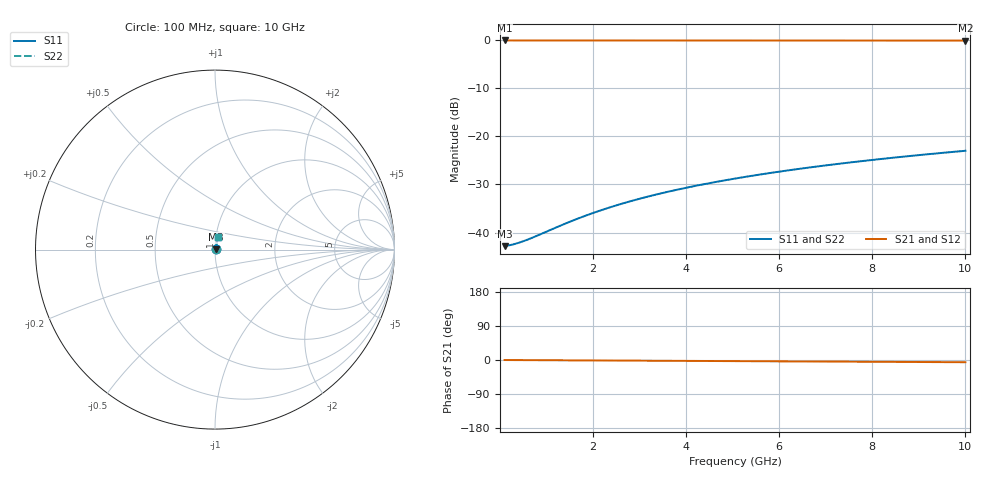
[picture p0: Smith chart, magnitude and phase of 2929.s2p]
# Hz S RI R 50.00
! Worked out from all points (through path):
!   100 points, 100 MHz to 10 GHz, reference 50 ohm
!   highest |S21| = -0.06 dB at 100 MHz (marker M1); lowest = -0.1 dB at 10 GHz (marker M2)
!   lowest |S11| = -42.8 dB at 100 MHz (marker M3), VSWR 1.01, Z = 50.7 + j0.0708 ohm
!   |S11| at or under -10 dB: start of sweep to end of sweep
!   |S22| runs from -42.8 to -23.0 dB; largest |S21 - S12| = 0
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1e8  0.00719 0.000698  0.9928 -0.00102  0.9928 -0.00102  0.00719 0.000698
2e8  0.00724 0.0014  0.9928 -0.00204  0.9928 -0.00204  0.00724 0.0014
3e8  0.00728 0.00209  0.9927 -0.00306  0.9927 -0.00306  0.00728 0.00209
4e8  0.00731 0.00279  0.9927 -0.00407  0.9927 -0.00407  0.00731 0.00279
6e8  0.00737 0.00419  0.9926 -0.00611  0.9926 -0.00611  0.00737 0.00419
8e8  0.00743 0.00558  0.9926 -0.00815  0.9926 -0.00815  0.00743 0.00558
1.4e9  0.0076 0.00977  0.9924 -0.0143  0.9924 -0.0143  0.0076 0.00977
1.8e9  0.00773 0.0126  0.9922 -0.0183  0.9922 -0.0183  0.00773 0.0126
2.2e9  0.00788 0.0153  0.9921 -0.0224  0.9921 -0.0224  0.00788 0.0153
2.6e9  0.00805 0.0181  0.9919 -0.0265  0.9919 -0.0265  0.00805 0.0181
3e9  0.00824 0.0209  0.9917 -0.0305  0.9917 -0.0305  0.00824 0.0209
3.4e9  0.00845 0.0237  0.9915 -0.0346  0.9915 -0.0346  0.00845 0.0237
3.8e9  0.00868 0.0265  0.9912 -0.0387  0.9912 -0.0387  0.00868 0.0265
4.2e9  0.00893 0.0293  0.991 -0.0427  0.991 -0.0427  0.00893 0.0293
4.6e9  0.0092 0.032  0.9907 -0.0468  0.9907 -0.0468  0.0092 0.032
5.1e9  0.00958 0.0355  0.9903 -0.0519  0.9903 -0.0519  0.00958 0.0355
5.9e9  0.0102 0.041  0.9896 -0.06  0.9896 -0.06  0.0102 0.041
6.7e9  0.011 0.0466  0.9887 -0.0681  0.9887 -0.0681  0.011 0.0466
7.5e9  0.0118 0.0521  0.9878 -0.0762  0.9878 -0.0762  0.0118 0.0521
8.4e9  0.0129 0.0583  0.9867 -0.0852  0.9867 -0.0852  0.0129 0.0583
9.2e9  0.0139 0.0638  0.9856 -0.0933  0.9856 -0.0933  0.0139 0.0638
1e10  0.0151 0.0692  0.9844 -0.1013  0.9844 -0.1013  0.0151 0.0692
